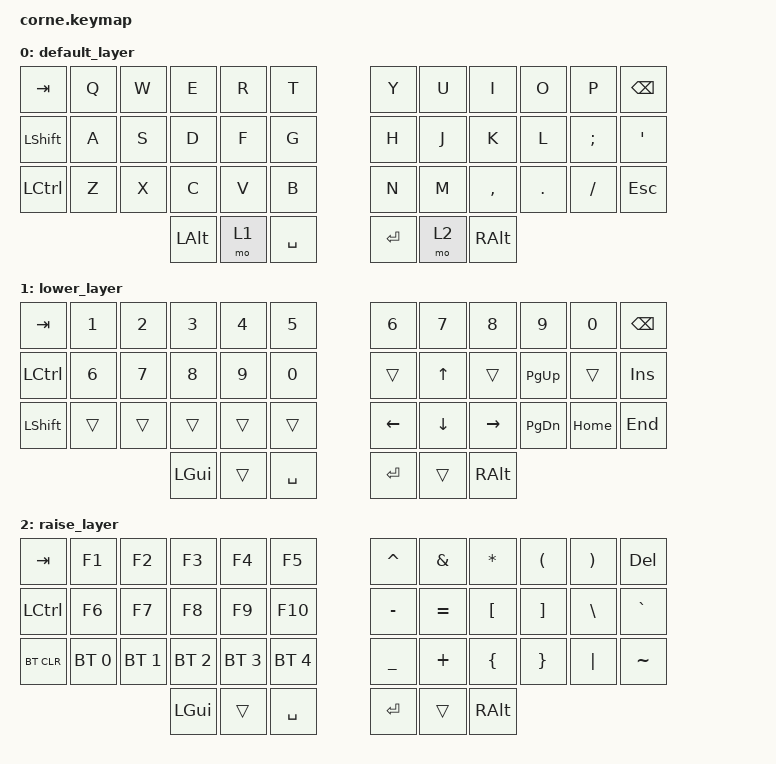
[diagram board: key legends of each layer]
/*
 * Copyright (c) 2020 The ZMK Contributors
 *
 * SPDX-License-Identifier: MIT
 */
#include <behaviors.dtsi>
#include <dt-bindings/zmk/bt.h>
#include <dt-bindings/zmk/keys.h>
#include <dt-bindings/zmk/outputs.h>

&nice_view_spi { cs-gpios = <&pro_micro 0 GPIO_ACTIVE_HIGH>; };

/ {
    keymap {
        compatible = "zmk,keymap";
        default_layer {
            bindings = <
&kp TAB    &kp Q  &kp W  &kp E     &kp R  &kp T        &kp Y    &kp U  &kp I      &kp O    &kp P     &kp BSPC
&kp LSHFT  &kp A  &kp S  &kp D     &kp F  &kp G        &kp H    &kp J  &kp K      &kp L    &kp SEMI  &kp SQT
&kp LCTRL  &kp Z  &kp X  &kp C     &kp V  &kp B        &kp N    &kp M  &kp COMMA  &kp DOT  &kp FSLH  &kp ESC
                         &kp LALT  &mo 1  &kp SPACE    &kp RET  &mo 2  &kp RALT
            >;
        };
        lower_layer {
            bindings = <
&kp TAB    &kp N1  &kp N2  &kp N3    &kp N4  &kp N5       &kp N6    &kp N7    &kp N8     &kp N9         &kp N0    &kp BSPC
&kp LCTRL  &kp N6  &kp N7  &kp N8    &kp N9  &kp N0       &trans    &kp UP    &trans     &kp PAGE_UP    &trans    &kp INS
&kp LSHFT  &trans  &trans  &trans    &trans  &trans       &kp LEFT  &kp DOWN  &kp RIGHT  &kp PAGE_DOWN  &kp HOME  &kp END
                           &kp LGUI  &trans  &kp SPACE    &kp RET   &trans    &kp RALT
            >;
        };
        raise_layer {
            bindings = <
&kp TAB     &kp F1        &kp F2        &kp F3        &kp F4    &kp F5       &kp CARET  &kp AMPS   &kp ASTRK  &kp LPAR  &kp RPAR  &kp DEL
&kp LCTRL   &kp F6        &kp F7        &kp F8        &kp F9    &kp F10      &kp MINUS  &kp EQUAL  &kp LBKT   &kp RBKT  &kp BSLH  &kp GRAVE
&bt BT_CLR  &bt BT_SEL 0  &bt BT_SEL 1  &bt BT_SEL 2  &bt BT_SEL 3  &bt BT_SEL 4    &kp UNDER     &kp PLUS      &kp LBRC  &kp RBRC  &kp PIPE  &kp TILDE
                                        &kp LGUI      &trans    &kp SPACE    &kp RET    &trans     &kp RALT
            >;
        };
    };
};
